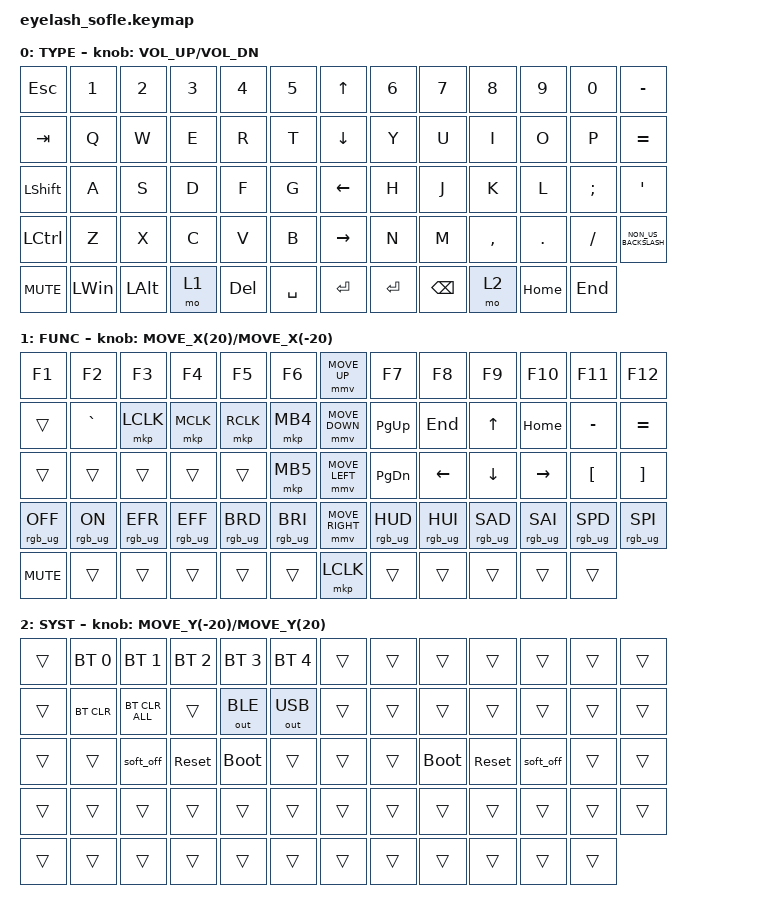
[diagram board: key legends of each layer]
/* MUST be before including pointing.h */

#define ZMK_POINTING_DEFAULT_MOVE_VAL 1200
#define ZMK_POINTING_DEFAULT_SCRL_VAL 33

#include <input/processors.dtsi>
#include <behaviors.dtsi>
#include <dt-bindings/zmk/bt.h>
#include <dt-bindings/zmk/keys.h>
#include <dt-bindings/zmk/outputs.h>
#include <dt-bindings/zmk/pointing.h>
#include <dt-bindings/zmk/rgb.h>

&mmv {
    acceleration-exponent = <1>;
    time-to-max-speed-ms = <1000>;
    delay-ms = <0>;
};

/* Critical change: start scrolling immediately */

&msc {
    acceleration-exponent = <0>;
    time-to-max-speed-ms = <10>;
    delay-ms = <0>;
};

/ {
    behaviors {
        /* Variable sensor rotate that feeds ONE parameter into &msc. */

        enc_msc: enc_msc {
            compatible = "zmk,behavior-sensor-rotate-var";
            #sensor-binding-cells = <2>;
            bindings = <&msc>, <&msc>;

            /* Critical change: make the "tap" long enough to produce wheel reports */

            tap-ms = <66>;
        };
    };

    keymap {
        compatible = "zmk,keymap";

        layer_0 {
            bindings = <
&kp ESC           &kp N1        &kp N2        &kp N3  &kp N4   &kp N5       &kp UP_ARROW     &kp N6     &kp N7         &kp N8     &kp N9    &kp N0    &kp MINUS
&kp TAB           &kp Q         &kp W         &kp E   &kp R    &kp T        &kp DOWN_ARROW   &kp Y      &kp U          &kp I      &kp O     &kp P     &kp EQUAL
&kp LEFT_SHIFT    &kp A         &kp S         &kp D   &kp F    &kp G        &kp LEFT_ARROW   &kp H      &kp J          &kp K      &kp L     &kp SEMI  &kp SQT
&kp LEFT_CONTROL  &kp Z         &kp X         &kp C   &kp V    &kp B        &kp RIGHT_ARROW  &kp N      &kp M          &kp COMMA  &kp DOT   &kp FSLH  &kp NON_US_BACKSLASH
&kp C_MUTE        &kp LEFT_WIN  &kp LEFT_ALT  &mo 1   &kp DEL  &kp SPACE    &kp ENTER        &kp ENTER  &kp BACKSPACE  &mo 2      &kp HOME  &kp END
            >;

            /* Base layer still volume */

            sensor-bindings = <&inc_dec_kp C_VOLUME_UP C_VOL_DN>;
            display-name = "TYPE";
        };

        layer_1 {
            bindings = <
&kp F1           &kp F2          &kp F3           &kp F4           &kp F5           &kp F6             &mmv MOVE_UP     &kp F7           &kp F8           &kp F9           &kp F10          &kp F11           &kp F12
&trans           &kp GRAVE       &mkp LCLK        &mkp MCLK        &mkp RCLK        &mkp MB4           &mmv MOVE_DOWN   &kp PG_UP        &kp END          &kp UP           &kp HOME         &kp MINUS         &kp EQUAL
&trans           &trans          &trans           &trans           &trans           &mkp MB5           &mmv MOVE_LEFT   &kp PG_DN        &kp LEFT         &kp DOWN         &kp RIGHT        &kp LEFT_BRACKET  &kp RIGHT_BRACKET
&rgb_ug RGB_OFF  &rgb_ug RGB_ON  &rgb_ug RGB_EFR  &rgb_ug RGB_EFF  &rgb_ug RGB_BRD  &rgb_ug RGB_BRI    &mmv MOVE_RIGHT  &rgb_ug RGB_HUD  &rgb_ug RGB_HUI  &rgb_ug RGB_SAD  &rgb_ug RGB_SAI  &rgb_ug RGB_SPD   &rgb_ug RGB_SPI
&kp C_MUTE       &trans          &trans           &trans           &trans           &trans             &mkp LCLK        &trans           &trans           &trans           &trans           &trans
            >;

            display-name = "FUNC";

            /* Horizontal scroll on encoder.
             * Positive = right, negative = left (for &msc via MOVE_X). */

            sensor-bindings = <&enc_msc MOVE_X(20) MOVE_X(-20)>;
        };

        layer_2 {
            bindings = <
&trans  &bt BT_SEL 0  &bt BT_SEL 1    &bt BT_SEL 2  &bt BT_SEL 3  &bt BT_SEL 4    &trans  &trans  &trans       &trans      &trans     &trans  &trans
&trans  &bt BT_CLR    &bt BT_CLR_ALL  &trans        &out OUT_BLE  &out OUT_USB    &trans  &trans  &trans       &trans      &trans     &trans  &trans
&trans  &trans        &soft_off       &sys_reset    &bootloader   &trans          &trans  &trans  &bootloader  &sys_reset  &soft_off  &trans  &trans
&trans  &trans        &trans          &trans        &trans        &trans          &trans  &trans  &trans       &trans      &trans     &trans  &trans
&trans  &trans        &trans          &trans        &trans        &trans          &trans  &trans  &trans       &trans      &trans     &trans
            >;

            display-name = "SYST";

            /* Vertical scroll on encoder.
             * Positive = up, negative = down (for &msc via MOVE_Y). */

            sensor-bindings = <&enc_msc MOVE_Y(-20) MOVE_Y(20)>;
        };
    };
};
